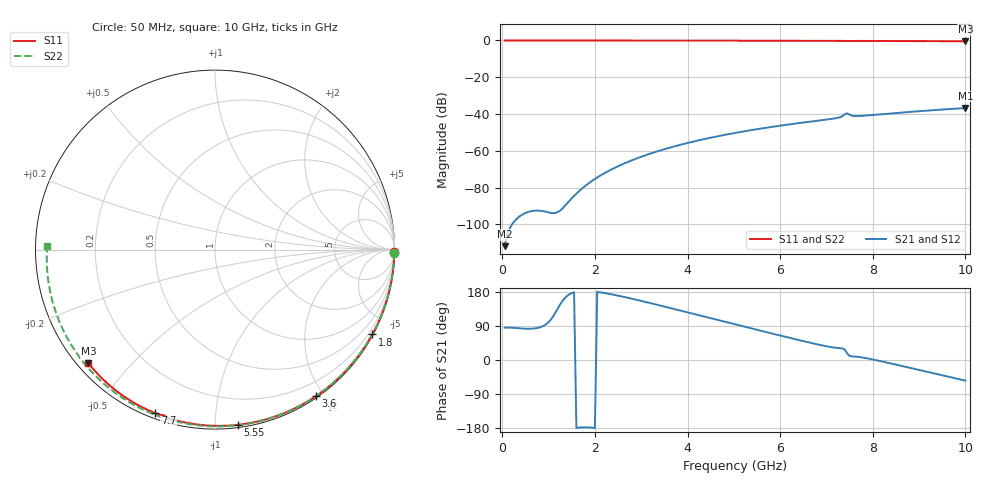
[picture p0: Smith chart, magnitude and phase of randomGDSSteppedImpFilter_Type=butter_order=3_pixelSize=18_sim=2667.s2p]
! freq	dB(S11)	phase(S11)	dB(S12)	phase(S12)
!  dB(S21)	phase(S21)	dB(S22)	phase(S22)
!S-par simulation data
#  GHz  S  DB  R 50
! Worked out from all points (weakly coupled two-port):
!   200 points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, 50 MHz to 10 GHz, reference 50 ohm
!   highest |S21| = -36.77 dB at 10 GHz (marker M1); lowest = -111.9 dB at 50 MHz (marker M2)
!   lowest |S11| = -0.5 dB at 10 GHz (marker M3), VSWR 36.99, Z = 1.55 - j19.1 ohm
!   |S11| at or under -10 dB: nowhere
!   |S22| runs from -0.6 to 0.0 dB; largest |S21 - S12| = 0
!   S11 on the Smith chart (normalised r, x): 50 MHz: open; 1.8 GHz: 0.03, -3.96; 3.6 GHz: 0.02, -1.91; 5.55 GHz: 0.02, -1.14; 7.7 GHz: 0.02, -0.70; 10 GHz: 0.03, -0.38
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0.05  -0.01 -0.8  -111.88 85.3  -111.88 85.3  -0.01 -1.1
0.85  -0.02 -13.5  -92.72 87.9  -92.72 87.9  -0.02 -17.8
1.75  -0.04 -27.6  -79.94 -177.5  -79.94 -177.5  -0.05 -36.2
1.8  -0.04 -28.3  -78.93 -177.5  -78.93 -177.5  -0.05 -37.2
2.1  -0.04 -32.9  -73.74 178.9  -73.74 178.9  -0.06 -43.2
2.5  -0.05 -39.0  -68.40 169.8  -68.40 169.8  -0.07 -51.1
2.9  -0.06 -45.0  -64.18 158.8  -64.18 158.8  -0.08 -58.9
3.4  -0.07 -52.4  -59.91 144.1  -59.91 144.1  -0.09 -68.3
3.6  -0.07 -55.3  -58.43 138.0  -58.43 138.0  -0.10 -72.1
4.3  -0.09 -65.4  -53.99 116.6  -53.99 116.6  -0.12 -84.9
5.05  -0.12 -75.8  -50.19 93.4  -50.19 93.4  -0.15 -98.1
5.55  -0.14 -82.6  -48.06 78.2  -48.06 78.2  -0.17 -106.7
6.1  -0.16 -89.8  -45.99 61.6  -45.99 61.6  -0.21 -116.0
6.7  -0.19 -97.6  -44.01 44.1  -44.01 44.1  -0.24 -126.0
7.25  -0.22 -104.8  -42.04 31.6  -42.04 31.6  -0.29 -135.0
7.3  -0.23 -105.4  -41.67 31.2  -41.67 31.2  -0.29 -135.8
7.45  -0.31 -107.1  -39.67 17.0  -39.67 17.0  -0.29 -138.3
7.55  -0.27 -108.2  -40.89 9.5  -40.89 9.5  -0.31 -139.9
7.7  -0.26 -110.1  -41.10 8.1  -41.10 8.1  -0.32 -142.4
8.35  -0.31 -118.2  -39.78 -8.0  -39.78 -8.0  -0.38 -153.1
9.2  -0.38 -128.5  -38.11 -31.9  -38.11 -31.9  -0.48 -167.4
10  -0.47 -138.1  -36.77 -54.5  -36.77 -54.5  -0.58 178.7
